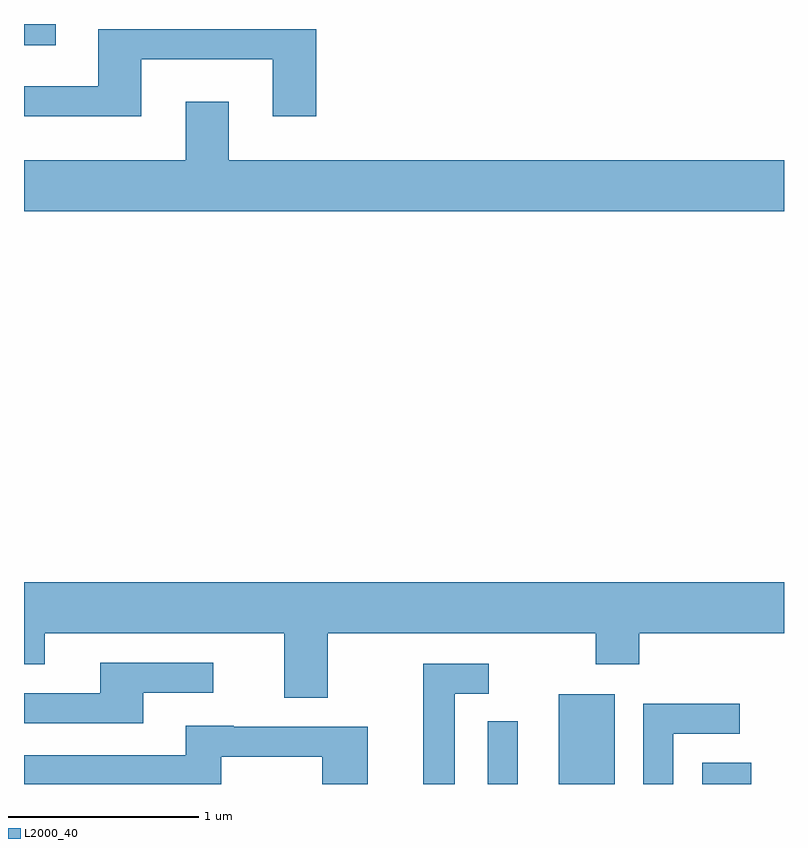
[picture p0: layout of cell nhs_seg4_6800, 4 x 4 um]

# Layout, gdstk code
import gdstk
lib = gdstk.Library(unit=1e-6, precision=1e-09)
def R(c, l, rs):  # rectangles x0, y0, x1, y1
    for r in rs: c.add(gdstk.rectangle(r[:2], r[2:], *l))
def P(c, l, *ps):  # polygons
    for p in ps: c.add(gdstk.Polygon(p, *l))
L2000_40 = (2000, 40)

nhs_seg4_6800 = lib.new_cell('nhs_seg4_6800')
R(nhs_seg4_6800, L2000_40, [(388.051,1253.982,388.209,1254.313), (388.426,1253.982,388.719,1254.454), (389.181,1253.982,389.439,1254.094), (385.611,1257.871,385.778,1257.982)])
P(nhs_seg4_6800, L2000_40, [(386.229,1257.796),(386.921,1257.796),(386.921,1257.496),(387.149,1257.496),(387.149,1257.954),(386.001,1257.954),(386.001,1257.654),(385.611,1257.654),(385.611,1257.496),(386.229,1257.496)],
  [(389.611,1257.264),(386.689,1257.264),(386.689,1257.574),(386.461,1257.574),(386.461,1257.264),(385.611,1257.264),(385.611,1256.996),(389.611,1256.996)],
  [(387.209,1254.776),(388.621,1254.776),(388.621,1254.611),(388.849,1254.611),(388.849,1254.776),(389.611,1254.776),(389.611,1255.044),(385.611,1255.044),(385.611,1254.611),(385.719,1254.611),(385.719,1254.776),(386.981,1254.776),(386.981,1254.436),(387.209,1254.436)],
  [(386.239,1254.461),(386.608,1254.461),(386.608,1254.619),(386.011,1254.619),(386.011,1254.459),(385.611,1254.459),(385.611,1254.301),(386.239,1254.301)],
  [(387.879,1254.456),(388.058,1254.456),(388.058,1254.614),(387.711,1254.614),(387.711,1253.982),(387.879,1253.982)],
  [(389.029,1254.246),(389.378,1254.246),(389.378,1254.404),(388.871,1254.404),(388.871,1253.982),(389.029,1253.982)],
  [(386.649,1254.126),(387.181,1254.126),(387.181,1253.982),(387.419,1253.982),(387.419,1254.284),(386.715,1254.284),(386.715,1254.289),(386.461,1254.289),(386.461,1254.134),(385.611,1254.134),(385.611,1253.982),(386.649,1253.982)])

lib.write_gds('nhs_seg4_6800.gds')
